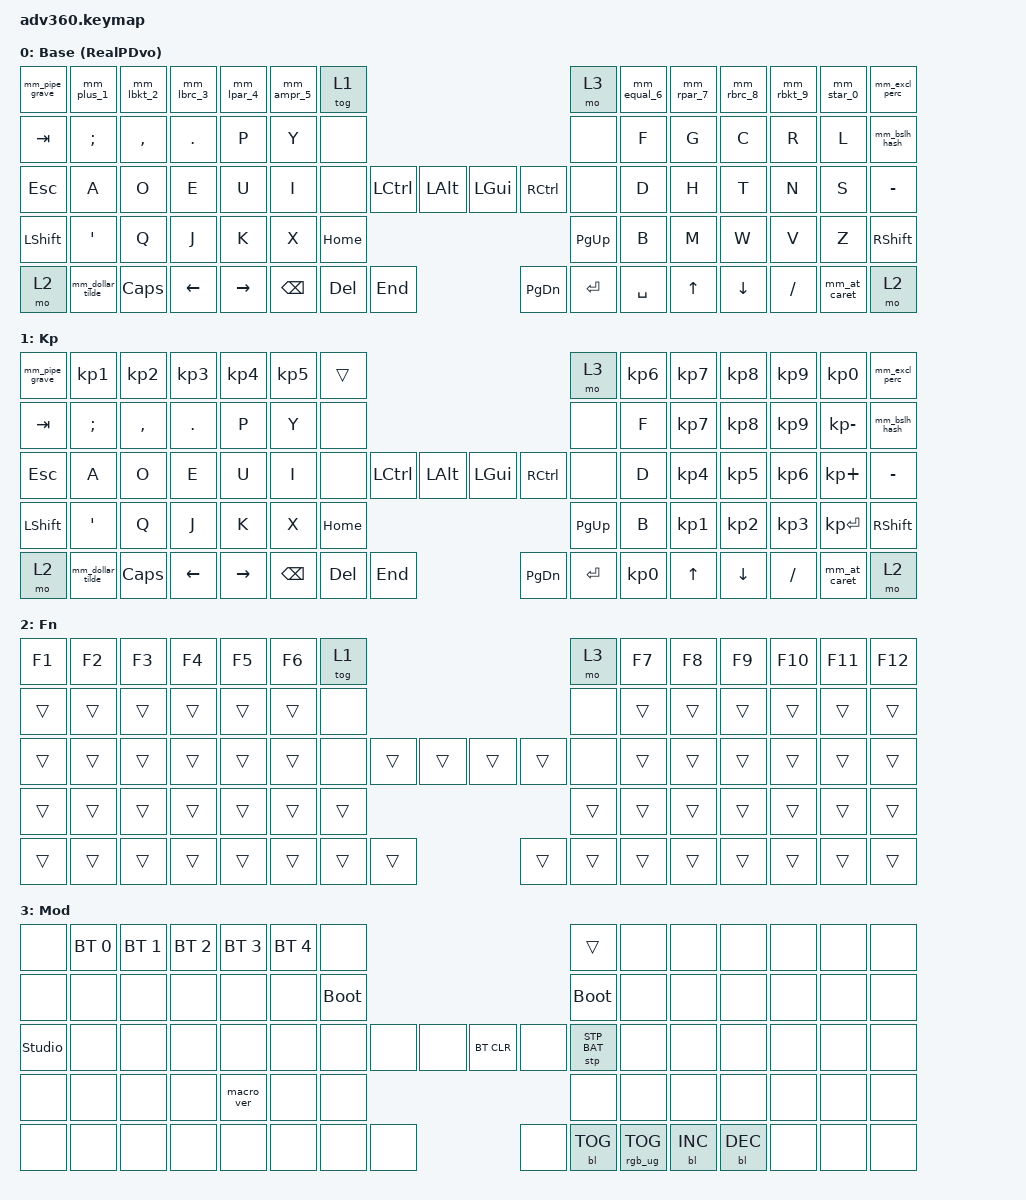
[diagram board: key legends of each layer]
#include <behaviors.dtsi>
#include <dt-bindings/zmk/keys.h>
#include <dt-bindings/zmk/modifiers.h>
#include <dt-bindings/zmk/bt.h>
#include <dt-bindings/zmk/rgb.h>
#include <dt-bindings/zmk/stp.h>
#include <dt-bindings/zmk/backlight.h>
#include <dt-bindings/zmk/pointing.h>

/ {
  behaviors {
    #include "macros.dtsi"
    #include "version.dtsi"

    hm: homerow_mods {
      compatible = "zmk,behavior-hold-tap";
      label = "HOMEROW_MODS";
      #binding-cells = <2>;
      tapping-term-ms = <200>;
      quick_tap_ms = <175>;
      flavor = "tap-preferred";
      bindings = <&kp>, <&kp>;
    };

    /*
     * Real-Programmer-Dvorak (Prime KLC) number row:
     * unshifted: \ + [ { ( &   = ) } ] *  ! |
     * shifted:   (grave) 1 2 3 4 5   6 7 8 9 0  % `
     *
     * Implemented with mod-morph:
     * - Trigger: either shift
     * - keep-mods defaults to 0, so the shift modifier is MASKED for the output
     *   (this is what makes it behave like a KLC layout instead of "shifting again").
     */

    mm_bslh_pipe: mm_bslh_pipe {
      compatible = "zmk,behavior-mod-morph";
      label = "MM_BSLH_PIPE";
      #binding-cells = <0>;
      mods = <(MOD_LSFT|MOD_RSFT)>;
      bindings = <&kp BSLH &kp PIPE>;
    };

    mm_plus_1: mm_plus_1 {
      compatible = "zmk,behavior-mod-morph";
      label = "MM_PLUS_1";
      #binding-cells = <0>;
      mods = <(MOD_LSFT|MOD_RSFT)>;
      bindings = <&kp PLUS &kp N1>;
    };

    mm_lbkt_2: mm_lbkt_2 {
      compatible = "zmk,behavior-mod-morph";
      label = "MM_LBKT_2";
      #binding-cells = <0>;
      mods = <(MOD_LSFT|MOD_RSFT)>;
      bindings = <&kp LBKT &kp N2>;
    };

    mm_lbrc_3: mm_lbrc_3 {
      compatible = "zmk,behavior-mod-morph";
      label = "MM_LBRC_3";
      #binding-cells = <0>;
      mods = <(MOD_LSFT|MOD_RSFT)>;
      bindings = <&kp LBRC &kp N3>;
    };

    mm_lpar_4: mm_lpar_4 {
      compatible = "zmk,behavior-mod-morph";
      label = "MM_LPAR_4";
      #binding-cells = <0>;
      mods = <(MOD_LSFT|MOD_RSFT)>;
      bindings = <&kp LPAR &kp N4>;
    };

    mm_ampr_5: mm_ampr_5 {
      compatible = "zmk,behavior-mod-morph";
      label = "MM_AMPR_5";
      #binding-cells = <0>;
      mods = <(MOD_LSFT|MOD_RSFT)>;
      bindings = <&kp AMPS &kp N5>;
    };

    mm_equal_6: mm_equal_6 {
      compatible = "zmk,behavior-mod-morph";
      label = "MM_EQUAL_6";
      #binding-cells = <0>;
      mods = <(MOD_LSFT|MOD_RSFT)>;
      bindings = <&kp EQUAL &kp N6>;
    };

    mm_rpar_7: mm_rpar_7 {
      compatible = "zmk,behavior-mod-morph";
      label = "MM_RPAR_7";
      #binding-cells = <0>;
      mods = <(MOD_LSFT|MOD_RSFT)>;
      bindings = <&kp RPAR &kp N7>;
    };

    mm_rbrc_8: mm_rbrc_8 {
      compatible = "zmk,behavior-mod-morph";
      label = "MM_RBRC_8";
      #binding-cells = <0>;
      mods = <(MOD_LSFT|MOD_RSFT)>;
      bindings = <&kp RBRC &kp N8>;
    };

    mm_rbkt_9: mm_rbkt_9 {
      compatible = "zmk,behavior-mod-morph";
      label = "MM_RBKT_9";
      #binding-cells = <0>;
      mods = <(MOD_LSFT|MOD_RSFT)>;
      bindings = <&kp RBKT &kp N9>;
    };

    mm_star_0: mm_star_0 {
      compatible = "zmk,behavior-mod-morph";
      label = "MM_STAR_0";
      #binding-cells = <0>;
      mods = <(MOD_LSFT|MOD_RSFT)>;
      bindings = <&kp STAR &kp N0>;
    };

    mm_excl_perc: mm_excl_perc {
      compatible = "zmk,behavior-mod-morph";
      label = "MM_EXCL_PERC";
      #binding-cells = <0>;
      mods = <(MOD_LSFT|MOD_RSFT)>;
      bindings = <&kp EXCL &kp PRCNT>;
    };

    mm_pipe_grave: mm_pipe_grave {
      compatible = "zmk,behavior-mod-morph";
      label = "MM_PIPE_GRAVE";
      #binding-cells = <0>;
      mods = <(MOD_LSFT|MOD_RSFT)>;
      bindings = <&kp PIPE &kp GRAVE>;
    };

    mm_at_caret: mm_at_caret {
      compatible = "zmk,behavior-mod-morph";
      label = "MM_AT_CARET";
      #binding-cells = <0>;
      mods = <(MOD_LSFT|MOD_RSFT)>;
      bindings = <&kp AT &kp CARET>;
    };

    mm_dollar_tilde: mm_dollar_tilde {
      compatible = "zmk,behavior-mod-morph";
      label = "MM_DOLLAR_TILDE";
      #binding-cells = <0>;
      mods = <(MOD_LSFT|MOD_RSFT)>;
      bindings = <&kp DLLR &kp TILDE>;
    };

    mm_bslh_hash: mm_bslh_hash {
      compatible = "zmk,behavior-mod-morph";
      label = "MM_BSLH_HASH";
      #binding-cells = <0>;
      mods = <(MOD_LSFT|MOD_RSFT)>;
      bindings = <&kp BSLH &kp HASH>;
    };
  };

  keymap {
    compatible = "zmk,keymap";

    default_layer {
      display-name = "Base (RealPDvo)";
      bindings = <
        &mm_pipe_grave &mm_plus_1 &mm_lbkt_2 &mm_lbrc_3 &mm_lpar_4 &mm_ampr_5 &tog 1                                                           &mo 3 &mm_equal_6 &mm_rpar_7 &mm_rbrc_8 &mm_rbkt_9 &mm_star_0 &mm_excl_perc
        &kp TAB       &kp SEMI   &kp COMMA  &kp DOT    &kp P      &kp Y      &none                                                            &none &kp F       &kp G      &kp C      &kp R      &kp L      &mm_bslh_hash
        &kp ESC       &kp A      &kp O      &kp E      &kp U      &kp I      &none           &kp LCTRL &kp LALT &kp LGUI  &kp RCTRL           &none &kp D       &kp H      &kp T      &kp N      &kp S      &kp MINUS
        &kp LSHFT     &kp SQT    &kp Q      &kp J      &kp K      &kp X                            &kp HOME &kp PG_UP                               &kp B       &kp M      &kp W      &kp V      &kp Z      &kp RSHFT
        &mo 2         &mm_dollar_tilde &kp CAPS &kp LEFT &kp RIGHT                &kp BSPC &kp DEL   &kp END  &kp PG_DN &kp ENTER &kp SPACE                     &kp UP     &kp DOWN   &kp FSLH   &mm_at_caret  &mo 2
      >;
    };

    keypad {
      display-name = "Kp";
      bindings = <
        &mm_pipe_grave &kp KP_N1 &kp KP_N2 &kp KP_N3 &kp KP_N4 &kp KP_N5 &trans                                                           &mo 3 &kp KP_N6 &kp KP_N7 &kp KP_N8 &kp KP_N9 &kp KP_N0 &mm_excl_perc
        &kp TAB       &kp SEMI  &kp COMMA &kp DOT   &kp P     &kp Y     &none                                                            &none &kp F     &kp KP_N7 &kp KP_N8 &kp KP_N9 &kp KP_MINUS &mm_bslh_hash
        &kp ESC       &kp A     &kp O     &kp E     &kp U     &kp I     &none           &kp LCTRL &kp LALT &kp LGUI  &kp RCTRL           &none &kp D     &kp KP_N4 &kp KP_N5 &kp KP_N6 &kp KP_PLUS  &kp MINUS
        &kp LSHFT     &kp SQT   &kp Q     &kp J     &kp K     &kp X                            &kp HOME &kp PG_UP                              &kp B     &kp KP_N1 &kp KP_N2 &kp KP_N3 &kp KP_ENTER &kp RSHFT
        &mo 2         &mm_dollar_tilde &kp CAPS &kp LEFT &kp RIGHT                &kp BSPC &kp DEL   &kp END  &kp PG_DN &kp ENTER &kp KP_N0              &kp UP &kp DOWN  &kp FSLH &mm_at_caret &mo 2
      >;
    };

    fn {
      display-name = "Fn";
      bindings = <
        &kp F1 &kp F2 &kp F3 &kp F4 &kp F5 &kp F6 &tog 1                                           &mo 3 &kp F7 &kp F8 &kp F9 &kp F10 &kp F11 &kp F12
        &trans &trans &trans &trans &trans &trans  &none                                           &none &trans &trans &trans &trans  &trans  &trans
        &trans &trans &trans &trans &trans &trans  &none        &trans &trans &trans &trans        &none &trans &trans &trans &trans  &trans  &trans
        &trans &trans &trans &trans &trans &trans                      &trans &trans                     &trans &trans &trans &trans  &trans  &trans
        &trans &trans &trans &trans &trans               &trans &trans &trans &trans &trans &trans              &trans &trans &trans  &trans  &trans
      >;
    };

    mod {
      display-name = "Mod";
      bindings = <
        &none &bt BT_SEL 0 &bt BT_SEL 1 &bt BT_SEL 2 &bt BT_SEL 3 &bt BT_SEL 4 &none                                                                     &trans                 &none        &none        &none        &none &none &none
        &none &none        &none        &none        &none        &none        &bootloader                                                               &bootloader            &none        &none        &none        &none &none &none
        &studio_unlock &none        &none        &none        &none        &none        &none                   &none &none &bt BT_CLR &none                      &stp STP_BAT &none        &none        &none        &none &none &none
        &none &none        &none        &none        &macro_ver   &none                                      &none &none                                                        &none        &none        &none        &none &none &none
        &none &none        &none        &none        &none                                       &none &none &none &none      &bl BL_TOG &rgb_ug RGB_TOG                                     &bl BL_INC   &bl BL_DEC   &none &none &none
      >;
    };

    extra1 { display-name = "Red";    status = "reserved"; };
    extra2 { display-name = "Purple"; status = "reserved"; };
    extra3 { display-name = "Cyan";   status = "reserved"; };
    extra4 { display-name = "Yellow"; status = "reserved"; };
  };
};

